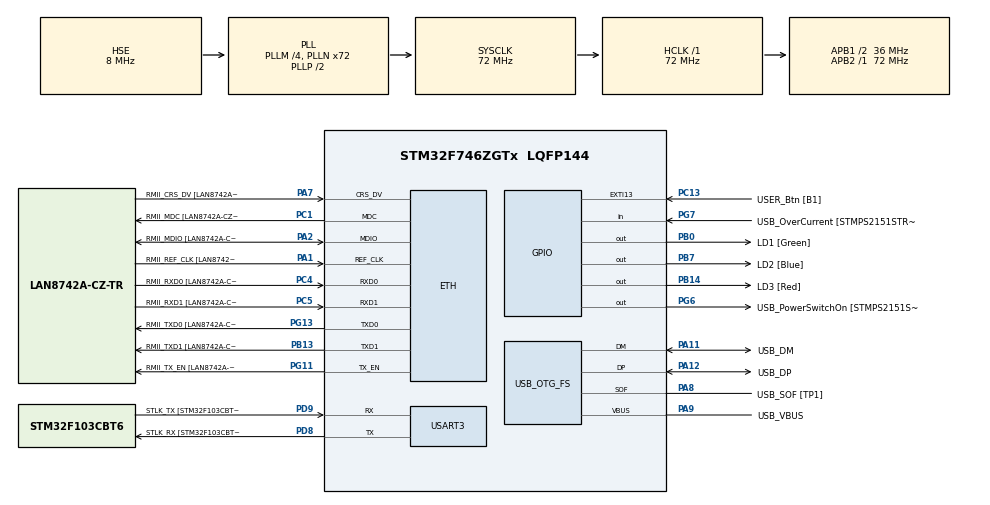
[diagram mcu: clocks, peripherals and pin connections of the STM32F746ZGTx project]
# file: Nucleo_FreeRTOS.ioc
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ETH.MediaInterface=ETH_MEDIA_INTERFACE_RMII
ETH.PHY_Name=LAN8742A_PHY_ADDRESS
ETH.PHY_Value=0
ETH.PhyAddress=0
Mcu.Family=STM32F7
Mcu.Name=STM32F746ZGTx
Mcu.Package=LQFP144
NVIC.PriorityGroup=NVIC_PRIORITYGROUP_4
NVIC.TIM6_DAC_IRQn=true\:15\:0\:false\:false\:true\:false\:true\:true
NVIC.TimeBase=TIM6_DAC_IRQn
NVIC.TimeBaseIP=TIM6
PA1.GPIO_Label=RMII_REF_CLK [LAN8742A-CZ-TR_REFCLK0]
PA1.Mode=RMII
PA1.Signal=ETH_REF_CLK
PA10.GPIO_Label=USB_ID
PA10.Signal=USB_OTG_FS_ID
PA11.GPIO_Label=USB_DM
PA11.Mode=Device_Only
PA11.Signal=USB_OTG_FS_DM
PA12.GPIO_Label=USB_DP
PA12.Mode=Device_Only
PA12.Signal=USB_OTG_FS_DP
PA13.GPIO_Label=TMS
PA13.Mode=Serial_Wire
PA13.Signal=SYS_JTMS-SWDIO
PA14.GPIO_Label=TCK
PA14.Mode=Serial_Wire
PA14.Signal=SYS_JTCK-SWCLK
PA2.GPIO_Label=RMII_MDIO [LAN8742A-CZ-TR_MDIO]
PA2.Mode=RMII
PA2.Signal=ETH_MDIO
PA7.GPIO_Label=RMII_CRS_DV [LAN8742A-CZ-TR_CRS_DV]
PA7.Mode=RMII
PA7.Signal=ETH_CRS_DV
PA8.GPIO_Label=USB_SOF [TP1]
PA8.Mode=Activate_SOF_FS
PA8.Signal=USB_OTG_FS_SOF
PA9.GPIO_Label=USB_VBUS
PA9.Mode=Activate_VBUS
PA9.Signal=USB_OTG_FS_VBUS
PB0.GPIO_Label=LD1 [Green]
PB0.Signal=GPIO_Output
PB13.GPIO_Label=RMII_TXD1 [LAN8742A-CZ-TR_TXD1]
PB13.Mode=RMII
PB13.Signal=ETH_TXD1
PB14.GPIO_Label=LD3 [Red]
PB14.Signal=GPIO_Output
PB3.GPIO_Label=SW0
PB3.Signal=SYS_JTDO-SWO
PB7.GPIO_Label=LD2 [Blue]
PB7.Signal=GPIO_Output
PC1.GPIO_Label=RMII_MDC [LAN8742A-CZ-TR_MDC]
PC1.Mode=RMII
PC1.Signal=ETH_MDC
PC13.GPIO_Label=USER_Btn [B1]
PC13.Signal=GPXTI13
PC14/OSC32_IN.Signal=RCC_OSC32_IN
PC15/OSC32_OUT.Signal=RCC_OSC32_OUT
PC4.GPIO_Label=RMII_RXD0 [LAN8742A-CZ-TR_RXD0]
PC4.Mode=RMII
PC4.Signal=ETH_RXD0
PC5.GPIO_Label=RMII_RXD1 [LAN8742A-CZ-TR_RXD1]
PC5.Mode=RMII
PC5.Signal=ETH_RXD1
PD8.GPIO_Label=STLK_RX [STM32F103CBT6_PA3]
PD8.Mode=Asynchronous
PD8.Signal=USART3_TX
PD9.GPIO_Label=STLK_TX [STM32F103CBT6_PA2]
PD9.Mode=Asynchronous
PD9.Signal=USART3_RX
PG11.GPIO_Label=RMII_TX_EN [LAN8742A-CZ-TR_TXEN]
PG11.Mode=RMII
PG11.Signal=ETH_TX_EN
PG13.GPIO_Label=RMII_TXD0 [LAN8742A-CZ-TR_TXD0]
PG13.Mode=RMII
PG13.Signal=ETH_TXD0
PG6.GPIO_Label=USB_PowerSwitchOn [STMPS2151STR_EN]
PG6.Signal=GPIO_Output
PG7.GPIO_Label=USB_OverCurrent [STMPS2151STR_FAULT]
PG7.Signal=GPIO_Input
PH0/OSC_IN.GPIO_Label=MCO [STM32F103CBT6_PA8]
PH0/OSC_IN.Mode=HSE-External-Oscillator
PH0/OSC_IN.Signal=RCC_OSC_IN
PH1/OSC_OUT.Mode=HSE-External-Oscillator
PH1/OSC_OUT.Signal=RCC_OSC_OUT
ProjectManager.HeapSize=0x200
ProjectManager.StackSize=0x400
ProjectManager.TargetToolchain=STM32CubeIDE
RCC.48MHZClocksFreq_Value=24000000
RCC.AHBFreq_Value=72000000
RCC.APB1CLKDivider=RCC_HCLK_DIV2
RCC.APB1Freq_Value=36000000
RCC.APB1TimFreq_Value=72000000
RCC.APB2Freq_Value=72000000
RCC.APB2TimFreq_Value=72000000
RCC.CortexFreq_Value=72000000
RCC.HCLKFreq_Value=72000000
RCC.HSE_VALUE=8000000
RCC.HSI_VALUE=16000000
RCC.PLLM=4
RCC.PLLMUL=RCC_PLL_MUL9
RCC.PLLN=72
RCC.PLLQ=3
RCC.PRESCALERUSB=RCC_USBCLKSOURCE_PLL_DIV1_5
RCC.SYSCLKFreq_VALUE=72000000
RCC.SYSCLKSource=RCC_SYSCLKSOURCE_PLLCLK
RCC.SYSCLKSourceVirtual=RCC_SYSCLKSOURCE_PLLCLK
RCC.USBFreq_Value=48000000
RCC.VCOOutputFreq_Value=144000000
USART3.VirtualMode-Asynchronous=VM_ASYNC
USB_OTG_FS.VirtualMode=Device_Only
VP_SYS_VS_tim6.Mode=TIM6
board=NUCLEO-F746ZG

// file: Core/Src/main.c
/* USER CODE BEGIN Header */
/**
  ******************************************************************************
  * @file           : main.c
  * @brief          : Main program body
  ******************************************************************************
  * @attention
  *
  * Copyright (c) 2022 STMicroelectronics.
  * All rights reserved.
  *
  * This software is licensed under terms that can be found in the LICENSE file
  * in the root directory of this software component.
  * If no LICENSE file comes with this software, it is provided AS-IS.
  *
  ******************************************************************************
  */
/* USER CODE END Header */
#include "main.h"

/* USER CODE BEGIN Includes */
#include "FreeRTOS.h"
#include "task.h"
#include "queue.h"
#include "semphr.h"
#include <stdio.h>
#include <string.h>
#include "pubsub.h"
//#include "queue.h"
/* USER CODE END Includes */

ETH_HandleTypeDef heth;

UART_HandleTypeDef huart3;

PCD_HandleTypeDef hpcd_USB_OTG_FS;

/* USER CODE BEGIN PV */
TaskHandle_t xTaskHandlePub1, xTaskHandleSub1, xTaskHandlepb14;
QueueHandle_t trialQueue;
SemaphoreHandle_t tqMutex;

//QueueHandle_t queue;
/* USER CODE END PV */

void SystemClock_Config(void);
static void MX_GPIO_Init(void);
//static void MX_ETH_Init(void);
static void MX_USART3_UART_Init(void);
static void MX_USB_OTG_FS_PCD_Init(void);
/* USER CODE BEGIN PFP */
void publisher1(void* pv);
void subscriber1(void* pv);
void PB14_task(void* pv);
//void queueTask(void* pv);
///void interruptTask(void* pv);
//void EXTI_15_10_IRQHandler(void);
/* USER CODE END PFP */

int main(void)
{

  /* MCU Configuration--------------------------------------------------------*/

  /* Reset of all peripherals, Initializes the Flash interface and the Systick. */
  HAL_Init();

  /* Configure the system clock */
  SystemClock_Config();

  /* Initialize all configured peripherals */
  MX_GPIO_Init();
  //MX_ETH_Init();
  MX_USART3_UART_Init();
  MX_USB_OTG_FS_PCD_Init();
  /* USER CODE BEGIN 2 */

//	  static int count = 0;
  xTaskCreate(publisher1, "pub1", 128, NULL, 1, &xTaskHandlePub1);
  xTaskCreate(subscriber1, "sub1", 128, NULL, 1, &xTaskHandleSub1);
  xTaskCreate(PB14_task, "B14 Task", 128, /*(void*) &count*/NULL, 1, &xTaskHandlepb14);
//  xTaskCreate(interruptTask, "Interrupt Task", 128, NULL, 1, &xInterruptTask);
  vTaskStartScheduler();

  /* USER CODE END 2 */

  /* Infinite loop */
  /* USER CODE BEGIN WHILE */
  while (1)
  {
	  printf("FreeRTOS\n\r");
	  HAL_Delay(1000);
    /* USER CODE END WHILE */

  }
}

void SystemClock_Config(void)
{
  RCC_OscInitTypeDef RCC_OscInitStruct = {0};
  RCC_ClkInitTypeDef RCC_ClkInitStruct = {0};

  /** Configure the main internal regulator output voltage
  */
  __HAL_RCC_PWR_CLK_ENABLE();
  __HAL_PWR_VOLTAGESCALING_CONFIG(PWR_REGULATOR_VOLTAGE_SCALE3);

  /** Initializes the RCC Oscillators according to the specified parameters
  * in the RCC_OscInitTypeDef structure.
  */
  RCC_OscInitStruct.OscillatorType = RCC_OSCILLATORTYPE_HSE;
  RCC_OscInitStruct.HSEState = RCC_HSE_ON;
  RCC_OscInitStruct.PLL.PLLState = RCC_PLL_ON;
  RCC_OscInitStruct.PLL.PLLSource = RCC_PLLSOURCE_HSE;
  RCC_OscInitStruct.PLL.PLLM = 4;
  RCC_OscInitStruct.PLL.PLLN = 72;
  RCC_OscInitStruct.PLL.PLLP = RCC_PLLP_DIV2;
  RCC_OscInitStruct.PLL.PLLQ = 3;
  if (HAL_RCC_OscConfig(&RCC_OscInitStruct) != HAL_OK)
  {
    Error_Handler();
  }

  /** Initializes the CPU, AHB and APB buses clocks
  */
  RCC_ClkInitStruct.ClockType = RCC_CLOCKTYPE_HCLK|RCC_CLOCKTYPE_SYSCLK
                              |RCC_CLOCKTYPE_PCLK1|RCC_CLOCKTYPE_PCLK2;
  RCC_ClkInitStruct.SYSCLKSource = RCC_SYSCLKSOURCE_PLLCLK;
  RCC_ClkInitStruct.AHBCLKDivider = RCC_SYSCLK_DIV1;
  RCC_ClkInitStruct.APB1CLKDivider = RCC_HCLK_DIV2;
  RCC_ClkInitStruct.APB2CLKDivider = RCC_HCLK_DIV1;

  if (HAL_RCC_ClockConfig(&RCC_ClkInitStruct, FLASH_LATENCY_2) != HAL_OK)
  {
    Error_Handler();
  }
}

//static void MX_ETH_Init(void)
//{
//
//  /* USER CODE BEGIN ETH_Init 0 */
////
//  /* USER CODE END ETH_Init 0 */
//
//   static uint8_t MACAddr[6];
//
//  /* USER CODE BEGIN ETH_Init 1 */
////
//  /* USER CODE END ETH_Init 1 */
//  heth.Instance = ETH;
//  heth.Init.AutoNegotiation = ETH_AUTONEGOTIATION_ENABLE;
//  heth.Init.Speed = ETH_SPEED_100M;
//  heth.Init.DuplexMode = ETH_MODE_FULLDUPLEX;
//  heth.Init.PhyAddress = LAN8742A_PHY_ADDRESS;
//  MACAddr[0] = 0x00;
//  MACAddr[1] = 0x80;
//  MACAddr[2] = 0xE1;
//  MACAddr[3] = 0x00;
//  MACAddr[4] = 0x00;
//  MACAddr[5] = 0x00;
//  heth.Init.MACAddr = &MACAddr[0];
//  heth.Init.RxMode = ETH_RXPOLLING_MODE;
//  heth.Init.ChecksumMode = ETH_CHECKSUM_BY_HARDWARE;
//  heth.Init.MediaInterface = ETH_MEDIA_INTERFACE_RMII;
//
//  /* USER CODE BEGIN MACADDRESS */
////
//  /* USER CODE END MACADDRESS */
//
//  if (HAL_ETH_Init(&heth) != HAL_OK)
//  {
//    Error_Handler();
//  }
//  /* USER CODE BEGIN ETH_Init 2 */
////
//  /* USER CODE END ETH_Init 2 */
//
//}

static void MX_USART3_UART_Init(void)
{

  huart3.Instance = USART3;
  huart3.Init.BaudRate = 115200;
  huart3.Init.WordLength = UART_WORDLENGTH_8B;
  huart3.Init.StopBits = UART_STOPBITS_1;
  huart3.Init.Parity = UART_PARITY_NONE;
  huart3.Init.Mode = UART_MODE_TX_RX;
  huart3.Init.HwFlowCtl = UART_HWCONTROL_NONE;
  huart3.Init.OverSampling = UART_OVERSAMPLING_16;
  huart3.Init.OneBitSampling = UART_ONE_BIT_SAMPLE_DISABLE;
  huart3.AdvancedInit.AdvFeatureInit = UART_ADVFEATURE_NO_INIT;
  if (HAL_UART_Init(&huart3) != HAL_OK)
  {
    Error_Handler();
  }

}

static void MX_USB_OTG_FS_PCD_Init(void)
{

  /* USER CODE BEGIN USB_OTG_FS_Init 0 */
//
  /* USER CODE END USB_OTG_FS_Init 0 */

  /* USER CODE BEGIN USB_OTG_FS_Init 1 */
//
  /* USER CODE END USB_OTG_FS_Init 1 */
  hpcd_USB_OTG_FS.Instance = USB_OTG_FS;
  hpcd_USB_OTG_FS.Init.dev_endpoints = 6;
  hpcd_USB_OTG_FS.Init.speed = PCD_SPEED_FULL;
  hpcd_USB_OTG_FS.Init.dma_enable = DISABLE;
  hpcd_USB_OTG_FS.Init.phy_itface = PCD_PHY_EMBEDDED;
  hpcd_USB_OTG_FS.Init.Sof_enable = ENABLE;
  hpcd_USB_OTG_FS.Init.low_power_enable = DISABLE;
  hpcd_USB_OTG_FS.Init.lpm_enable = DISABLE;
  hpcd_USB_OTG_FS.Init.vbus_sensing_enable = ENABLE;
  hpcd_USB_OTG_FS.Init.use_dedicated_ep1 = DISABLE;
  if (HAL_PCD_Init(&hpcd_USB_OTG_FS) != HAL_OK)
  {
    Error_Handler();
  }
  /* USER CODE BEGIN USB_OTG_FS_Init 2 */
//
  /* USER CODE END USB_OTG_FS_Init 2 */

}

static void MX_GPIO_Init(void)
{
  GPIO_InitTypeDef GPIO_InitStruct = {0};

  /* GPIO Ports Clock Enable */
  __HAL_RCC_GPIOC_CLK_ENABLE();
  __HAL_RCC_GPIOH_CLK_ENABLE();
  __HAL_RCC_GPIOA_CLK_ENABLE();
  __HAL_RCC_GPIOB_CLK_ENABLE();
  __HAL_RCC_GPIOD_CLK_ENABLE();
  __HAL_RCC_GPIOG_CLK_ENABLE();

  /*Configure GPIO pin Output Level */
  HAL_GPIO_WritePin(GPIOB, LD1_Pin|LD3_Pin|LD2_Pin, GPIO_PIN_RESET);

  /*Configure GPIO pin Output Level */
  HAL_GPIO_WritePin(USB_PowerSwitchOn_GPIO_Port, USB_PowerSwitchOn_Pin, GPIO_PIN_RESET);

  /*Configure GPIO pin : USER_Btn_Pin */
  GPIO_InitStruct.Pin = USER_Btn_Pin;
  GPIO_InitStruct.Mode = GPIO_MODE_IT_RISING;
  GPIO_InitStruct.Pull = GPIO_NOPULL;
  HAL_GPIO_Init(USER_Btn_GPIO_Port, &GPIO_InitStruct);

  /*Configure GPIO pins : LD1_Pin LD3_Pin LD2_Pin */
  GPIO_InitStruct.Pin = LD1_Pin|LD3_Pin|LD2_Pin;
  GPIO_InitStruct.Mode = GPIO_MODE_OUTPUT_PP;
  GPIO_InitStruct.Pull = GPIO_NOPULL;
  GPIO_InitStruct.Speed = GPIO_SPEED_FREQ_LOW;
  HAL_GPIO_Init(GPIOB, &GPIO_InitStruct);

  /*Configure GPIO pin : USB_PowerSwitchOn_Pin */
  GPIO_InitStruct.Pin = USB_PowerSwitchOn_Pin;
  GPIO_InitStruct.Mode = GPIO_MODE_OUTPUT_PP;
  GPIO_InitStruct.Pull = GPIO_NOPULL;
  GPIO_InitStruct.Speed = GPIO_SPEED_FREQ_LOW;
  HAL_GPIO_Init(USB_PowerSwitchOn_GPIO_Port, &GPIO_InitStruct);

  /*Configure GPIO pin : USB_OverCurrent_Pin */
  GPIO_InitStruct.Pin = USB_OverCurrent_Pin;
  GPIO_InitStruct.Mode = GPIO_MODE_INPUT;
  GPIO_InitStruct.Pull = GPIO_NOPULL;
  HAL_GPIO_Init(USB_OverCurrent_GPIO_Port, &GPIO_InitStruct);

}

/* USER CODE BEGIN 4 */
#ifdef __GNUC__
int __io_putchar(int ch)
#else
int fputc(int ch, FILE* f)
#endif

{
	HAL_UART_Transmit(&huart3, (uint8_t*) &ch, 1, HAL_MAX_DELAY);
	return ch;
}

void publisher1(void* pv)
{
	message send;
	send.pubHandle = xTaskHandlePub1;
	strcpy(send.payload, "Test send to queue\n\r");

	while(1)
	{
		if (xSemaphoreTake(tqMutex, 0xFFFFFFFF) == 1)
			xQueueSend(trialQueue, &send, (TickType_t) 5);

		xSemaphoreGive(tqMutex);
		vTaskDelay(20);
	}
}

void subscriber1(void* pv)
{
	message rec;
	while(1)
	{
		if (xSemaphoreTake(tqMutex, 0xFFFFFFFF) == 1)
			xQueueReceive(trialQueue, &rec, (TickType_t) 5);

		xSemaphoreGive(tqMutex);
		printf("Message received: %s", rec.payload);
		vTaskDelay(20);
	}
}

void PB14_task(void* pv)
{
//	int count = *((int*) pv);
	while(1)
	{
//		vTaskSuspend(xTaskHandlepb0);
//		vTaskResume(xTaskHandlepb7);
		HAL_GPIO_TogglePin(GPIOB, GPIO_PIN_14);
		vTaskDelay(300);
//		vTaskSuspend(xTaskHandlepb7);
//		vTaskResume(xTaskHandlepb0);
//		vTaskDelay(3000);

//		if (count == 10)
//			vTaskDelete(NULL);
//
//		else
//			count++;
	}
}

//void interruptTask(void* pv)
//{
//	while(1)
//	{
//		vTaskSuspend(NULL);
//		vTaskSuspend(xTaskHandlepb14);
//		vTaskDelay(5000);
//		vTaskResume(xTaskHandlepb14);
//	}
//}

//void queueTask(void* pv)
//{
//	queue = xQueueCreate(10, sizeof(buff));
//	while (1)
//	{
//
//	}
//}

//void EXTI_15_10_IRQHandler(void)
//{
//	HAL_GPIO_EXTI_IRQHandler(GPIO_PIN_13);
//	HAL_GPIO_WritePin(GPIOB, GPIO_PIN_14, 0);
//	HAL_Delay(5000);
//	return;
//	portYIELD_FROM_ISR(xTaskResumeFromISR(xInterruptTask));
//}
/* USER CODE END 4 */

void HAL_TIM_PeriodElapsedCallback(TIM_HandleTypeDef *htim)
{
  if (htim->Instance == TIM6) {
    HAL_IncTick();
  }
}

void Error_Handler(void)
{
  __disable_irq();
  while (1)
  {
  }
}
